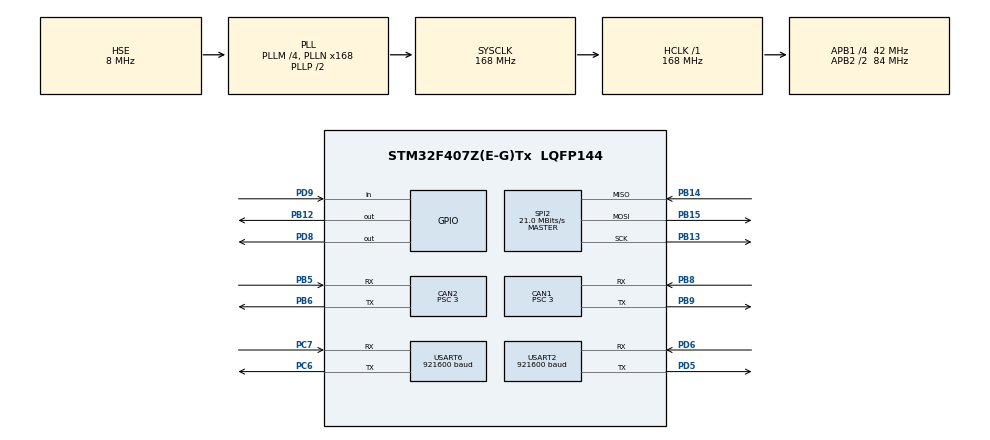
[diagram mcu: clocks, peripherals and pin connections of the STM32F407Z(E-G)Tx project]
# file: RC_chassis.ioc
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CAN1.ABOM=ENABLE
CAN1.AWUM=ENABLE
CAN1.BS1=CAN_BS1_9TQ
CAN1.BS2=CAN_BS2_4TQ
CAN1.CalculateBaudRate=1000000
CAN1.CalculateTimeBit=1000
CAN1.CalculateTimeQuantum=71.42857142857143
CAN1.NART=ENABLE
CAN1.Prescaler=3
CAN1.TXFP=ENABLE
CAN2.ABOM=ENABLE
CAN2.AWUM=ENABLE
CAN2.BS1=CAN_BS1_9TQ
CAN2.BS2=CAN_BS2_4TQ
CAN2.CalculateBaudRate=1000000
CAN2.CalculateTimeBit=1000
CAN2.CalculateTimeQuantum=71.42857142857143
CAN2.NART=ENABLE
CAN2.Prescaler=3
CAN2.TXFP=ENABLE
Dma.Request0=USART2_RX
Dma.Request1=USART2_TX
Dma.Request2=USART6_RX
Dma.Request3=USART6_TX
Dma.USART2_RX.0.Direction=DMA_PERIPH_TO_MEMORY
Dma.USART2_RX.0.FIFOMode=DMA_FIFOMODE_DISABLE
Dma.USART2_RX.0.Instance=DMA1_Stream5
Dma.USART2_RX.0.MemDataAlignment=DMA_MDATAALIGN_BYTE
Dma.USART2_RX.0.MemInc=DMA_MINC_ENABLE
Dma.USART2_RX.0.Mode=DMA_CIRCULAR
Dma.USART2_RX.0.PeriphDataAlignment=DMA_PDATAALIGN_BYTE
Dma.USART2_RX.0.PeriphInc=DMA_PINC_DISABLE
Dma.USART2_RX.0.Priority=DMA_PRIORITY_LOW
Dma.USART2_TX.1.Direction=DMA_MEMORY_TO_PERIPH
Dma.USART2_TX.1.FIFOMode=DMA_FIFOMODE_DISABLE
Dma.USART2_TX.1.Instance=DMA1_Stream6
Dma.USART2_TX.1.MemDataAlignment=DMA_MDATAALIGN_BYTE
Dma.USART2_TX.1.MemInc=DMA_MINC_ENABLE
Dma.USART2_TX.1.Mode=DMA_CIRCULAR
Dma.USART2_TX.1.PeriphDataAlignment=DMA_PDATAALIGN_BYTE
Dma.USART2_TX.1.PeriphInc=DMA_PINC_DISABLE
Dma.USART2_TX.1.Priority=DMA_PRIORITY_LOW
Dma.USART6_RX.2.Direction=DMA_PERIPH_TO_MEMORY
Dma.USART6_RX.2.FIFOMode=DMA_FIFOMODE_DISABLE
Dma.USART6_RX.2.Instance=DMA2_Stream1
Dma.USART6_RX.2.MemDataAlignment=DMA_MDATAALIGN_BYTE
Dma.USART6_RX.2.MemInc=DMA_MINC_ENABLE
Dma.USART6_RX.2.Mode=DMA_CIRCULAR
Dma.USART6_RX.2.PeriphDataAlignment=DMA_PDATAALIGN_BYTE
Dma.USART6_RX.2.PeriphInc=DMA_PINC_DISABLE
Dma.USART6_RX.2.Priority=DMA_PRIORITY_LOW
Dma.USART6_TX.3.Direction=DMA_MEMORY_TO_PERIPH
Dma.USART6_TX.3.FIFOMode=DMA_FIFOMODE_DISABLE
Dma.USART6_TX.3.Instance=DMA2_Stream6
Dma.USART6_TX.3.MemDataAlignment=DMA_MDATAALIGN_BYTE
Dma.USART6_TX.3.MemInc=DMA_MINC_ENABLE
Dma.USART6_TX.3.Mode=DMA_CIRCULAR
Dma.USART6_TX.3.PeriphDataAlignment=DMA_PDATAALIGN_BYTE
Dma.USART6_TX.3.PeriphInc=DMA_PINC_DISABLE
Dma.USART6_TX.3.Priority=DMA_PRIORITY_LOW
FREERTOS.Tasks01=Task1,0,128,TASK1,Default,NULL,Dynamic,NULL,NULL;Task2,0,128,TASK2,Default,NULL,Dynamic,NULL,NULL;Task3,1,128,TASK3,Default,NULL,Dynamic,NULL,NULL;Task4,0,128,TASK4,Default,NULL,Dynamic,NULL,NULL;Task5,0,128,TASK5,Default,NULL,Dynamic,NULL,NULL
Mcu.Family=STM32F4
Mcu.Name=STM32F407Z(E-G)Tx
Mcu.Package=LQFP144
NVIC.CAN1_RX0_IRQn=true\:5\:0\:false\:false\:true\:true\:true\:true\:true
NVIC.CAN2_RX0_IRQn=true\:5\:0\:false\:false\:true\:true\:true\:true\:true
NVIC.DMA1_Stream5_IRQn=true\:5\:0\:false\:false\:true\:true\:false\:true\:true
NVIC.DMA1_Stream6_IRQn=true\:5\:0\:false\:false\:true\:true\:false\:true\:true
NVIC.DMA2_Stream1_IRQn=true\:5\:0\:false\:false\:true\:true\:false\:true\:true
NVIC.DMA2_Stream6_IRQn=true\:5\:0\:false\:false\:true\:true\:false\:true\:true
NVIC.PriorityGroup=NVIC_PRIORITYGROUP_4
NVIC.SPI2_IRQn=true\:5\:0\:false\:false\:true\:true\:true\:true\:true
NVIC.TIM2_IRQn=true\:5\:0\:false\:false\:true\:true\:true\:true\:true
NVIC.TIM7_IRQn=true\:15\:0\:false\:false\:true\:false\:false\:true\:true
NVIC.TimeBase=TIM7_IRQn
NVIC.TimeBaseIP=TIM7
NVIC.USART2_IRQn=true\:5\:0\:false\:false\:true\:true\:true\:true\:true
NVIC.USART6_IRQn=true\:5\:0\:false\:false\:true\:true\:true\:true\:true
PA13.Mode=Serial_Wire
PA13.Signal=SYS_JTMS-SWDIO
PA14.Mode=Serial_Wire
PA14.Signal=SYS_JTCK-SWCLK
PB12.GPIO_Speed=GPIO_SPEED_FREQ_VERY_HIGH
PB12.PinState=GPIO_PIN_SET
PB12.Signal=GPIO_Output
PB13.Mode=Full_Duplex_Master
PB13.Signal=SPI2_SCK
PB14.Mode=Full_Duplex_Master
PB14.Signal=SPI2_MISO
PB15.Mode=Full_Duplex_Master
PB15.Signal=SPI2_MOSI
PB5.Mode=CAN_Activate
PB5.Signal=CAN2_RX
PB6.Mode=CAN_Activate
PB6.Signal=CAN2_TX
PB8.Mode=CAN_Activate
PB8.Signal=CAN1_RX
PB9.Mode=CAN_Activate
PB9.Signal=CAN1_TX
PC14-OSC32_IN.Mode=LSE-External-Oscillator
PC14-OSC32_IN.Signal=RCC_OSC32_IN
PC15-OSC32_OUT.Mode=LSE-External-Oscillator
PC15-OSC32_OUT.Signal=RCC_OSC32_OUT
PC6.Mode=Asynchronous
PC6.Signal=USART6_TX
PC7.Mode=Asynchronous
PC7.Signal=USART6_RX
PD5.Mode=Asynchronous
PD5.Signal=USART2_TX
PD6.Mode=Asynchronous
PD6.Signal=USART2_RX
PD8.GPIO_Speed=GPIO_SPEED_FREQ_VERY_HIGH
PD8.Signal=GPIO_Output
PD9.GPIO_PuPd=GPIO_PULLUP
PD9.Signal=GPIO_Input
PH0-OSC_IN.Mode=HSE-External-Oscillator
PH0-OSC_IN.Signal=RCC_OSC_IN
PH1-OSC_OUT.Mode=HSE-External-Oscillator
PH1-OSC_OUT.Signal=RCC_OSC_OUT
ProjectManager.HeapSize=0x200
ProjectManager.StackSize=0x400
ProjectManager.TargetToolchain=MDK-ARM V5.32
RCC.48MHZClocksFreq_Value=84000000
RCC.AHBFreq_Value=168000000
RCC.APB1CLKDivider=RCC_HCLK_DIV4
RCC.APB1Freq_Value=42000000
RCC.APB1TimFreq_Value=84000000
RCC.APB2CLKDivider=RCC_HCLK_DIV2
RCC.APB2Freq_Value=84000000
RCC.APB2TimFreq_Value=168000000
RCC.CortexFreq_Value=168000000
RCC.HCLKFreq_Value=168000000
RCC.HSE_VALUE=8000000
RCC.HSI_VALUE=16000000
RCC.PLLM=4
RCC.PLLN=168
RCC.PLLSourceVirtual=RCC_PLLSOURCE_HSE
RCC.SYSCLKFreq_VALUE=168000000
RCC.SYSCLKSource=RCC_SYSCLKSOURCE_PLLCLK
RCC.VCOOutputFreq_Value=336000000
SPI2.BaudRatePrescaler=SPI_BAUDRATEPRESCALER_2
SPI2.CalculateBaudRate=21.0 MBits/s
SPI2.Direction=SPI_DIRECTION_2LINES
SPI2.Mode=SPI_MODE_MASTER
SPI2.VirtualType=VM_MASTER
TIM2.AutoReloadPreload=TIM_AUTORELOAD_PRELOAD_ENABLE
TIM2.Period=999
TIM2.Prescaler=83
USART2.BaudRate=921600
USART2.VirtualMode=VM_ASYNC
USART6.BaudRate=921600
USART6.VirtualMode=VM_ASYNC
VP_FREERTOS_VS_CMSIS_V1.Mode=CMSIS_V1
VP_SYS_VS_tim7.Mode=TIM7
VP_TIM2_VS_ClockSourceINT.Mode=Internal
board=custom

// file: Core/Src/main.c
/* USER CODE BEGIN Header */
/**
  ******************************************************************************
  * @file           : main.c
  * @brief          : Main program body
  ******************************************************************************
  * @attention
  *
  * Copyright (c) 2025 STMicroelectronics.
  * All rights reserved.
  *
  * This software is licensed under terms that can be found in the LICENSE file
  * in the root directory of this software component.
  * If no LICENSE file comes with this software, it is provided AS-IS.
  *
  ******************************************************************************
  */
/* USER CODE END Header */
#include "main.h"
#include "cmsis_os.h"
#include "can.h"
#include "dma.h"
#include "spi.h"
#include "tim.h"
#include "usart.h"
#include "gpio.h"

/* USER CODE BEGIN Includes */
#include "can_bsp.h"
#include "algorithm.h"
#include "global_declare.h"
#include "gyro.h"
/* USER CODE END Includes */

/* USER CODE BEGIN PV */
extern UART_HandleTypeDef huart2, huart6;
/* USER CODE END PV */

void SystemClock_Config(void);
void MX_FREERTOS_Init(void);

int main(void)
 {

  /* MCU Configuration--------------------------------------------------------*/

  /* Reset of all peripherals, Initializes the Flash interface and the Systick. */
  HAL_Init();

  /* Configure the system clock */
  SystemClock_Config();

  /* Initialize all configured peripherals */
  MX_GPIO_Init();
  MX_DMA_Init();
  MX_CAN1_Init();
  MX_CAN2_Init();
  MX_SPI2_Init();
  MX_USART2_UART_Init();
  MX_USART6_UART_Init();
  MX_TIM2_Init();
  /* USER CODE BEGIN 2 */
  // __HAL_UART_DISABLE(&huart2);
  // __HAL_UART_FLUSH_DRREGISTER(&huart2);
  // __HAL_UART_CLEAR_OREFLAG(&huart2);
  // HAL_UART_Receive_DMA(&huart2, (uint8_t *)g_uart_rx_buf, 512);
  // __HAL_UART_ENABLE_IT(&huart2, UART_IT_IDLE);
  // __HAL_UART_ENABLE(&huart2);
  __HAL_UART_DISABLE(&huart6);
  __HAL_UART_FLUSH_DRREGISTER(&huart6);
  __HAL_UART_CLEAR_OREFLAG(&huart6);
  HAL_UART_Receive_DMA(&huart6, (uint8_t *)g_uart_rx_buf, 512);
  __HAL_UART_ENABLE_IT(&huart6, UART_IT_IDLE);
  __HAL_UART_ENABLE(&huart6);

  HAL_TIM_Base_Start_IT(&htim2);

  can1_start();
  can2_start();
  /* USER CODE END 2 */

  /* Call init function for freertos objects (in cmsis_os2.c) */
  MX_FREERTOS_Init();

  /* Start scheduler */
  osKernelStart();

  /* We should never get here as control is now taken by the scheduler */

  /* Infinite loop */
  while (1)
  {

  }
}

void SystemClock_Config(void)
{
  RCC_OscInitTypeDef RCC_OscInitStruct = {0};
  RCC_ClkInitTypeDef RCC_ClkInitStruct = {0};

  /** Configure the main internal regulator output voltage
  */
  __HAL_RCC_PWR_CLK_ENABLE();
  __HAL_PWR_VOLTAGESCALING_CONFIG(PWR_REGULATOR_VOLTAGE_SCALE1);

  /** Initializes the RCC Oscillators according to the specified parameters
  * in the RCC_OscInitTypeDef structure.
  */
  RCC_OscInitStruct.OscillatorType = RCC_OSCILLATORTYPE_HSE;
  RCC_OscInitStruct.HSEState = RCC_HSE_ON;
  RCC_OscInitStruct.PLL.PLLState = RCC_PLL_ON;
  RCC_OscInitStruct.PLL.PLLSource = RCC_PLLSOURCE_HSE;
  RCC_OscInitStruct.PLL.PLLM = 4;
  RCC_OscInitStruct.PLL.PLLN = 168;
  RCC_OscInitStruct.PLL.PLLP = RCC_PLLP_DIV2;
  RCC_OscInitStruct.PLL.PLLQ = 4;
  if (HAL_RCC_OscConfig(&RCC_OscInitStruct) != HAL_OK)
  {
    Error_Handler();
  }

  /** Initializes the CPU, AHB and APB buses clocks
  */
  RCC_ClkInitStruct.ClockType = RCC_CLOCKTYPE_HCLK|RCC_CLOCKTYPE_SYSCLK
                              |RCC_CLOCKTYPE_PCLK1|RCC_CLOCKTYPE_PCLK2;
  RCC_ClkInitStruct.SYSCLKSource = RCC_SYSCLKSOURCE_PLLCLK;
  RCC_ClkInitStruct.AHBCLKDivider = RCC_SYSCLK_DIV1;
  RCC_ClkInitStruct.APB1CLKDivider = RCC_HCLK_DIV4;
  RCC_ClkInitStruct.APB2CLKDivider = RCC_HCLK_DIV2;

  if (HAL_RCC_ClockConfig(&RCC_ClkInitStruct, FLASH_LATENCY_5) != HAL_OK)
  {
    Error_Handler();
  }
}

void HAL_TIM_PeriodElapsedCallback(TIM_HandleTypeDef *htim)
{
  /* USER CODE BEGIN Callback 0 */
  // if (htim->Instance == TIM2)
  // {
  //   if (nav.nav_state == NAV_PERMUTATION_PATH || nav.nav_state == NAV_AUTO_PATH)
  //   {
  //     nav.auto_path.run_time++;
  //     nav.auto_path.rotation_time++;
  //     nav.auto_path.run_Sumtime++;
  //   }
  // }
  /* USER CODE END Callback 0 */
  if (htim->Instance == TIM7)
  {
    HAL_IncTick();
  }
}

void Error_Handler(void)
{
  __disable_irq();
  while (1)
  {
  }
}

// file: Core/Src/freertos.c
/* USER CODE BEGIN Header */
/**
  ******************************************************************************
  * File Name          : freertos.c
  * Description        : Code for freertos applications
  ******************************************************************************
  * @attention
  *
  * Copyright (c) 2025 STMicroelectronics.
  * All rights reserved.
  *
  * This software is licensed under terms that can be found in the LICENSE file
  * in the root directory of this software component.
  * If no LICENSE file comes with this software, it is provided AS-IS.
  *
  ******************************************************************************
  */
/* USER CODE END Header */

#include "FreeRTOS.h"
#include "task.h"
#include "main.h"
#include "cmsis_os.h"

/* USER CODE BEGIN Includes */
#include "global_declare.h"
#include "locate.h"
#include "navigation.h"
#include "NRF24L01.h"
#include "can_bsp.h"
#include "chassis.h"
#include "steeringWheel.h"
#include <string.h>
/* USER CODE END Includes */

/* USER CODE BEGIN Variables */
int dt35_location = 0;
int time = 0;
int cnt = 0;
extern CAN_HandleTypeDef hcan1;
/* USER CODE END Variables */
osThreadId Task1Handle;
osThreadId Task2Handle;
osThreadId Task3Handle;
osThreadId Task4Handle;
osThreadId Task5Handle;

void TASK1(void const * argument);
void TASK2(void const * argument);
void TASK3(void const * argument);
void TASK4(void const * argument);
void TASK5(void const * argument);

void MX_FREERTOS_Init(void); /* (MISRA C 2004 rule 8.1) */

/* GetIdleTaskMemory prototype (linked to static allocation support) */
void vApplicationGetIdleTaskMemory( StaticTask_t **ppxIdleTaskTCBBuffer, StackType_t **ppxIdleTaskStackBuffer, uint32_t *pulIdleTaskStackSize );

/* USER CODE BEGIN GET_IDLE_TASK_MEMORY */
static StaticTask_t xIdleTaskTCBBuffer;
static StackType_t xIdleStack[configMINIMAL_STACK_SIZE];

void vApplicationGetIdleTaskMemory( StaticTask_t **ppxIdleTaskTCBBuffer, StackType_t **ppxIdleTaskStackBuffer, uint32_t *pulIdleTaskStackSize )
{
  *ppxIdleTaskTCBBuffer = &xIdleTaskTCBBuffer;
  *ppxIdleTaskStackBuffer = &xIdleStack[0];
  *pulIdleTaskStackSize = configMINIMAL_STACK_SIZE;
  /* place for user code */
}
/* USER CODE END GET_IDLE_TASK_MEMORY */

void MX_FREERTOS_Init(void) {

  /* Create the thread(s) */
  /* definition and creation of Task1 */
  osThreadDef(Task1, TASK1, osPriorityNormal, 0, 128);
  Task1Handle = osThreadCreate(osThread(Task1), NULL);

  /* definition and creation of Task2 */
  osThreadDef(Task2, TASK2, osPriorityNormal, 0, 128);
  Task2Handle = osThreadCreate(osThread(Task2), NULL);

  /* definition and creation of Task3 */
  osThreadDef(Task3, TASK3, osPriorityAboveNormal, 0, 128);
  Task3Handle = osThreadCreate(osThread(Task3), NULL);

  /* definition and creation of Task4 */
  osThreadDef(Task4, TASK4, osPriorityNormal, 0, 128);
  Task4Handle = osThreadCreate(osThread(Task4), NULL);

  /* definition and creation of Task5 */
  osThreadDef(Task5, TASK5, osPriorityNormal, 0, 128);
  Task5Handle = osThreadCreate(osThread(Task5), NULL);

}

void TASK1(void const * argument)
{
  /* USER CODE BEGIN TASK1 */

  /* Infinite loop */
  for (;;)
  {
    // 陀螺仪+随动轮+DT35定位
    if (g_uart_rx_cnt > 0)
    {
      memcpy(g_decode_data + g_decode_data_pos, g_uart_rx_buf, g_uart_rx_cnt);
      g_decode_data_pos += g_uart_rx_cnt;
      g_uart_rx_cnt = 0;
    }
    if (g_decode_data_pos > 0)
    {
      analysis_data(g_decode_data, g_decode_data_pos);
      //data_filter();
    }

    dx = stRobot.stPos.fpPosX, dy = stRobot.stPos.fpPosY;
    v = sqrtf((dx - dx_pre) * (dx - dx_pre) + (dy - dy_pre) * (dy - dy_pre)); // mm/s
    dx_pre = dx, dy_pre = dy;

    v_filtered = 0.7f * v + 0.3f * v_pre;
    v_pre = v_filtered;

    Robot_Location(&stRobot, &stFollowerWheel);
    if (dt35_location > 9)
    {
      DT35_relocation_new(&stRobot, &stFollowerWheel, &dt35_save, &dt35_now);
      dt35_location = 0;
    }
    dt35_location++;
    dt35_relocation();

    UpdatePositionFeedback(&nav, &stRobot);
    PositionToVelt();
    osDelay(pdMS_TO_TICKS(1));
  }
  /* USER CODE END TASK1 */
}

void TASK2(void const * argument)
{
  /* USER CODE BEGIN TASK2 */
  //nav.nav_state = 5;

  //nav.nav_state = 5;
  //nav.auto_path.number = 1;
  // point_end = (POINT){4500.0f, 700.0f, 0.0f};
  //nav.nav_state = 3;

  // nav.nav_state = 6;
  //nav.auto_path.number_permutation = 1;
  /* Infinite loop */
  for(;;)
  {
    // if (nav.nav_state == 2 && cnt == 0)
    // {
    //   // point_end = (POINT){4500.0f, 1500.0f, 0.0f};
    //   // nav.nav_state = 5;
    //   // end_flag=0;
    //   cnt = 1;
    // }
    // else if (nav.nav_state == 2 && cnt == 1){
    //   nav.nav_state = 5;
    //   point_end = (POINT){300.0f, 6000.0f, 0.0f};
    //   cnt = 2;
    // }
    // else if (nav.nav_state == 2 && cnt == 2){
    //   nav.nav_state = 5;
    //   point_end = (POINT){300.0f, -500.0f, 0.0f};
    //   cnt = 3;
    // }
    // else if (nav.nav_state == 2 && cnt == 3){
    //   nav.nav_state = 5;
    //   point_end = (POINT){-400.0f, -500.0f, 0.0f};
    //   cnt = 4;
    // }

      time++;
      if (time<5000)
        leftdown_motor_angle.Input = leftdown_init_angle, rightdown_motor_angle.Input = rightdown_init_angle;
      else if(time<=8000 && time>=5000)
        leftdown_motor_angle.Input = leftdown_init_angle+360.0f, rightdown_motor_angle.Input = rightdown_init_angle+360.0f;
      // else if(time>8000 && time<=11000)
      //   leftdown_motor_angle.Input = leftdown_init_angle+135.f, rightdown_motor_angle.Input = rightdown_init_angle+135.f;
      // else
      //   leftdown_motor_angle.Input = leftdown_init_angle+315.f, rightdown_motor_angle.Input = rightdown_init_angle+315.f;

    //   navigation();

    // if (nav.nav_state != NAV_OFF)
    // {
    //   PID_Calc(&chassis_run.rightdown, chassis_run.rightdown.fpDes, chassis_run.rightdown.fpFB);
    //   PID_Calc(&chassis_run.rightup, chassis_run.rightup.fpDes, chassis_run.rightup.fpFB);
    //   PID_Calc(&chassis_run.leftdown, chassis_run.leftdown.fpDes, chassis_run.leftdown.fpFB);
    //   PID_Calc(&chassis_run.leftup, chassis_run.leftup.fpDes, chassis_run.leftup.fpFB);

    //   chassis_run.leftup.fpU += friction_compensation_current.leftup + feed_forward_current.leftup;
    //   chassis_run.rightup.fpU += friction_compensation_current.rightup + feed_forward_current.rightup;
    //   chassis_run.rightdown.fpU += friction_compensation_current.rightdown + feed_forward_current.rightdown;
    //   chassis_run.leftdown.fpU += friction_compensation_current.leftdown + feed_forward_current.leftdown;

    // //   leftdown_motor_angle.Input = chassis_steer_angle.leftdown_td.aim;
    // //   rightdown_motor_angle.Input = chassis_steer_angle.rightdown_td.aim;
    // }
    //CAN_SendCurrent(&hcan1, 0x200, chassis_run.leftup.fpU, chassis_run.rightup.fpU, chassis_run.rightdown.fpU, chassis_run.leftdown.fpU);
    //CAN_SendCurrent(&hcan1, 0x200, chassis_run.rightup.fpU, chassis_run.rightdown.fpU, chassis_run.leftdown.fpU, chassis_run.leftup.fpU);

    ControlLoop(&leftdown_motor_angle);
    ControlLoop(&rightdown_motor_angle);
    osDelay(pdMS_TO_TICKS(1));
  }
  /* USER CODE END TASK2 */
}

void TASK3(void const * argument)
{
  /* USER CODE BEGIN TASK3 */
  /* Infinite loop */
  for(;;)
  {

      // if (nav.nav_state == NAV_PERMUTATION_PATH || nav.nav_state == NAV_AUTO_PATH)
      // {
      //   nav.auto_path.run_time++;
      //   nav.auto_path.rotation_time++;
      //   nav.auto_path.run_Sumtime++;
      // }
    //遥控器发送接收
    // if (!NRF24L01_Check() && !FLAG_NRF)
    // {
    //   NRF24L01_RX_Mode();
    //   FLAG_NRF = 1;
    // }
    // if (FLAG_NRF == 1)
    // {
    //   nRF24L01_ack_pay.Ack_Channel = 0;
    //   nRF24L01_ack_pay.Ack_Status = 3;
    //   nRF24L01_ack_pay.Ack_Len = ACK_PLOAD_WIDTH;
    //   NRF24L01_RxPacket(nRF24L01_RxBuf);
    //   NRF24L01_Rx_AckPayload(nRF24L01_ack_pay);

    //   parseDataPacket(nRF24L01_RxBuf, &Js_Value);
    // }
      osDelay(pdMS_TO_TICKS(1));
  }
  /* USER CODE END TASK3 */
}

void TASK4(void const * argument)
{
  for(;;)
  {
    osDelay(1);
  }
}

void TASK5(void const * argument)
{
  for(;;)
  {
    osDelay(1);
  }
}
